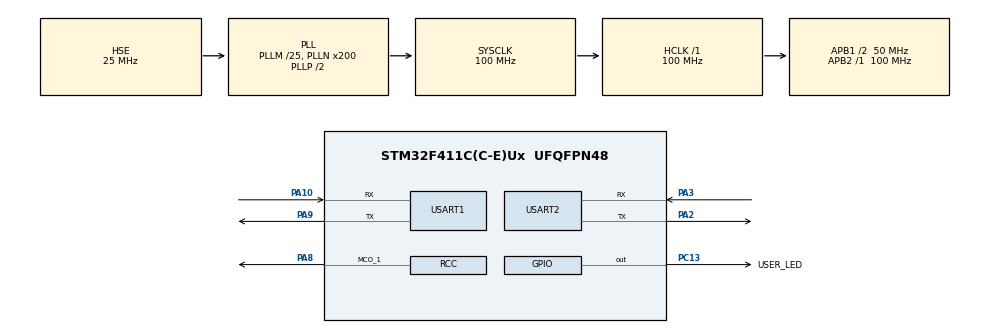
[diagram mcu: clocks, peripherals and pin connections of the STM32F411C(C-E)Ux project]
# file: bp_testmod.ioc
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Dma.Request0=USART1_RX
Dma.Request1=USART1_TX
Dma.Request2=USART2_RX
Dma.Request3=USART2_TX
Dma.USART1_RX.0.Direction=DMA_PERIPH_TO_MEMORY
Dma.USART1_RX.0.FIFOMode=DMA_FIFOMODE_DISABLE
Dma.USART1_RX.0.Instance=DMA2_Stream2
Dma.USART1_RX.0.MemDataAlignment=DMA_MDATAALIGN_BYTE
Dma.USART1_RX.0.MemInc=DMA_MINC_ENABLE
Dma.USART1_RX.0.Mode=DMA_NORMAL
Dma.USART1_RX.0.PeriphDataAlignment=DMA_PDATAALIGN_BYTE
Dma.USART1_RX.0.PeriphInc=DMA_PINC_DISABLE
Dma.USART1_RX.0.Priority=DMA_PRIORITY_LOW
Dma.USART1_TX.1.Direction=DMA_MEMORY_TO_PERIPH
Dma.USART1_TX.1.FIFOMode=DMA_FIFOMODE_DISABLE
Dma.USART1_TX.1.Instance=DMA2_Stream7
Dma.USART1_TX.1.MemDataAlignment=DMA_MDATAALIGN_BYTE
Dma.USART1_TX.1.MemInc=DMA_MINC_ENABLE
Dma.USART1_TX.1.Mode=DMA_NORMAL
Dma.USART1_TX.1.PeriphDataAlignment=DMA_PDATAALIGN_BYTE
Dma.USART1_TX.1.PeriphInc=DMA_PINC_DISABLE
Dma.USART1_TX.1.Priority=DMA_PRIORITY_LOW
Dma.USART2_RX.2.Direction=DMA_PERIPH_TO_MEMORY
Dma.USART2_RX.2.FIFOMode=DMA_FIFOMODE_DISABLE
Dma.USART2_RX.2.Instance=DMA1_Stream5
Dma.USART2_RX.2.MemDataAlignment=DMA_MDATAALIGN_BYTE
Dma.USART2_RX.2.MemInc=DMA_MINC_ENABLE
Dma.USART2_RX.2.Mode=DMA_NORMAL
Dma.USART2_RX.2.PeriphDataAlignment=DMA_PDATAALIGN_BYTE
Dma.USART2_RX.2.PeriphInc=DMA_PINC_DISABLE
Dma.USART2_RX.2.Priority=DMA_PRIORITY_LOW
Dma.USART2_TX.3.Direction=DMA_MEMORY_TO_PERIPH
Dma.USART2_TX.3.FIFOMode=DMA_FIFOMODE_DISABLE
Dma.USART2_TX.3.Instance=DMA1_Stream6
Dma.USART2_TX.3.MemDataAlignment=DMA_MDATAALIGN_BYTE
Dma.USART2_TX.3.MemInc=DMA_MINC_ENABLE
Dma.USART2_TX.3.Mode=DMA_NORMAL
Dma.USART2_TX.3.PeriphDataAlignment=DMA_PDATAALIGN_BYTE
Dma.USART2_TX.3.PeriphInc=DMA_PINC_DISABLE
Dma.USART2_TX.3.Priority=DMA_PRIORITY_LOW
Mcu.Family=STM32F4
Mcu.Name=STM32F411C(C-E)Ux
Mcu.Package=UFQFPN48
NVIC.DMA1_Stream5_IRQn=true\:0\:0\:false\:false\:true\:false\:true\:true
NVIC.DMA1_Stream6_IRQn=true\:0\:0\:false\:false\:true\:false\:true\:true
NVIC.DMA2_Stream2_IRQn=true\:0\:0\:false\:false\:true\:false\:true\:true
NVIC.DMA2_Stream7_IRQn=true\:0\:0\:false\:false\:true\:false\:true\:true
NVIC.PriorityGroup=NVIC_PRIORITYGROUP_4
NVIC.USART1_IRQn=true\:0\:0\:false\:false\:true\:true\:true\:true
NVIC.USART2_IRQn=true\:0\:0\:false\:false\:true\:false\:true\:true
PA10.Mode=Asynchronous
PA10.Signal=USART1_RX
PA13.Mode=Serial_Wire
PA13.Signal=SYS_JTMS-SWDIO
PA14.Mode=Serial_Wire
PA14.Signal=SYS_JTCK-SWCLK
PA2.Mode=Asynchronous
PA2.Signal=USART2_TX
PA3.Mode=Asynchronous
PA3.Signal=USART2_RX
PA8.Mode=Clock-out-1
PA8.Signal=RCC_MCO_1
PA9.Mode=Asynchronous
PA9.Signal=USART1_TX
PC13-ANTI_TAMP.GPIO_Label=USER_LED
PC13-ANTI_TAMP.PinState=GPIO_PIN_SET
PC13-ANTI_TAMP.Signal=GPIO_Output
PH0\ -\ OSC_IN.Mode=HSE-External-Oscillator
PH0\ -\ OSC_IN.Signal=RCC_OSC_IN
PH1\ -\ OSC_OUT.Mode=HSE-External-Oscillator
PH1\ -\ OSC_OUT.Signal=RCC_OSC_OUT
ProjectManager.HeapSize=0x200
ProjectManager.StackSize=0x400
ProjectManager.TargetToolchain=STM32CubeIDE
RCC.48MHZClocksFreq_Value=50000000
RCC.AHBFreq_Value=100000000
RCC.APB1CLKDivider=RCC_HCLK_DIV2
RCC.APB1Freq_Value=50000000
RCC.APB1TimFreq_Value=100000000
RCC.APB2Freq_Value=100000000
RCC.APB2TimFreq_Value=100000000
RCC.CortexFreq_Value=100000000
RCC.HCLKFreq_Value=100000000
RCC.HSE_VALUE=25000000
RCC.HSI_VALUE=16000000
RCC.LSE_VALUE=32768
RCC.PLLM=25
RCC.PLLN=200
RCC.PLLSourceVirtual=RCC_PLLSOURCE_HSE
RCC.SYSCLKFreq_VALUE=100000000
RCC.SYSCLKSource=RCC_SYSCLKSOURCE_PLLCLK
RCC.VCOOutputFreq_Value=200000000
USART1.VirtualMode=VM_ASYNC
USART2.VirtualMode=VM_ASYNC
board=custom

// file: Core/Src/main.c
/* USER CODE BEGIN Header */
/**
  ******************************************************************************
  * @file           : main.c
  * @brief          : Main program body
  ******************************************************************************
  * @attention
  *
  * Copyright (c) 2026 STMicroelectronics.
  * All rights reserved.
  *
  * This software is licensed under terms that can be found in the LICENSE file
  * in the root directory of this software component.
  * If no LICENSE file comes with this software, it is provided AS-IS.
  *
  ******************************************************************************
  */
/* USER CODE END Header */
#include "main.h"
#include "dma.h"
#include "usart.h"
#include "gpio.h"

/* USER CODE BEGIN Includes */
#include <string.h>
#include "gsm.h"
#include <stdio.h>
/* USER CODE END Includes */

/* USER CODE BEGIN PV */
GSM_NetworkStatus_t current_network_status;
/* USER CODE END PV */

void SystemClock_Config(void);

/* USER CODE BEGIN 0 */
int _write(int file, char *ptr, int len)
{
    // Transmit printf data over USART2 (Debug Console)
    HAL_UART_Transmit(&huart2, (uint8_t*)ptr, len, HAL_MAX_DELAY);
    return len;
}
/* USER CODE END 0 */

int main(void)
{

  /* MCU Configuration--------------------------------------------------------*/

  /* Reset of all peripherals, Initializes the Flash interface and the Systick. */
  HAL_Init();

  /* Configure the system clock */
  SystemClock_Config();

  /* Initialize all configured peripherals */
  MX_GPIO_Init();
  MX_DMA_Init();
  MX_USART1_UART_Init();
  MX_USART2_UART_Init();
  /* USER CODE BEGIN 2 */

  GSM_AttachUart(&huart1);
  GSM_AttachDebugUart(&huart2);
  HAL_StatusTypeDef gsm_status = GSM_Init(5);

  /* Bounded: 5 retries at 1s apart = ~5s max before giving up if the
   * modem is disconnected. main() always reaches the loop below. */
  if (gsm_status == HAL_OK) {
      const char* target_contacts[] = {
          "+919038556097",
          "+917980228197"
      };
      uint8_t contact_count = sizeof(target_contacts) / sizeof(target_contacts[0]);
      //GSM_SendSMS_Multiple(target_contacts, contact_count, "Hello! The STM32 system is now online.");

      GSM_HTTP_GET("https://test-api.free.beeceptor.com/");
      HAL_Delay(3000);
      const char* my_json = "{\"device\":\"stm32\",\"temperature\":45.2}";
      GSM_HTTP_POST("https://test-api.free.beeceptor.com", my_json, "application/json");
  }

  /* USER CODE END 2 */

  /* Infinite loop */
  while (1)
  {

    /* USER CODE BEGIN 3 */

	  if (gsm_status == HAL_OK)
	  {
		  HAL_GPIO_TogglePin(GPIOC, GPIO_PIN_13);

		  // Update the global variable
		  GSM_GetNetworkStatus(&current_network_status);

		  // Call  built-in library function to print the full status to the debug serial
		  GSM_PrintNetworkStatus();

		  if (current_network_status.rssi_valid) {
			  printf("Signal: %d dBm\r\n", current_network_status.rssi_dbm);
		  }

		  GSM_Ping("www.google.com", 15000);
		  HAL_Delay(10000);
	  }

	else
	{
		/* GSM init failed -- prove the main loop is still alive and
		 * looping with a fast, unmistakably different blink pattern,
		 * instead of silently hanging. */
		HAL_GPIO_TogglePin(GPIOC, GPIO_PIN_13);
		HAL_Delay(150);
	}
  }
  /* USER CODE END 3 */
}

void SystemClock_Config(void)
{
  RCC_OscInitTypeDef RCC_OscInitStruct = {0};
  RCC_ClkInitTypeDef RCC_ClkInitStruct = {0};

  /** Configure the main internal regulator output voltage
  */
  __HAL_RCC_PWR_CLK_ENABLE();
  __HAL_PWR_VOLTAGESCALING_CONFIG(PWR_REGULATOR_VOLTAGE_SCALE1);

  /** Initializes the RCC Oscillators according to the specified parameters
  * in the RCC_OscInitTypeDef structure.
  */
  RCC_OscInitStruct.OscillatorType = RCC_OSCILLATORTYPE_HSI|RCC_OSCILLATORTYPE_HSE;
  RCC_OscInitStruct.HSEState = RCC_HSE_ON;
  RCC_OscInitStruct.HSIState = RCC_HSI_ON;
  RCC_OscInitStruct.HSICalibrationValue = RCC_HSICALIBRATION_DEFAULT;
  RCC_OscInitStruct.PLL.PLLState = RCC_PLL_ON;
  RCC_OscInitStruct.PLL.PLLSource = RCC_PLLSOURCE_HSE;
  RCC_OscInitStruct.PLL.PLLM = 25;
  RCC_OscInitStruct.PLL.PLLN = 200;
  RCC_OscInitStruct.PLL.PLLP = RCC_PLLP_DIV2;
  RCC_OscInitStruct.PLL.PLLQ = 4;
  if (HAL_RCC_OscConfig(&RCC_OscInitStruct) != HAL_OK)
  {
    Error_Handler();
  }

  /** Initializes the CPU, AHB and APB buses clocks
  */
  RCC_ClkInitStruct.ClockType = RCC_CLOCKTYPE_HCLK|RCC_CLOCKTYPE_SYSCLK
                              |RCC_CLOCKTYPE_PCLK1|RCC_CLOCKTYPE_PCLK2;
  RCC_ClkInitStruct.SYSCLKSource = RCC_SYSCLKSOURCE_PLLCLK;
  RCC_ClkInitStruct.AHBCLKDivider = RCC_SYSCLK_DIV1;
  RCC_ClkInitStruct.APB1CLKDivider = RCC_HCLK_DIV2;
  RCC_ClkInitStruct.APB2CLKDivider = RCC_HCLK_DIV1;

  if (HAL_RCC_ClockConfig(&RCC_ClkInitStruct, FLASH_LATENCY_3) != HAL_OK)
  {
    Error_Handler();
  }
  HAL_RCC_MCOConfig(RCC_MCO1, RCC_MCO1SOURCE_HSI, RCC_MCODIV_1);
}

/* USER CODE BEGIN 4 */

/* --- DMA + IDLE-line event-driven UART1 reception START --- */

void HAL_UARTEx_RxEventCallback(UART_HandleTypeDef *huart, uint16_t Size)
{
    GSM_RxEventCallback(huart, Size);
}

void HAL_UART_ErrorCallback(UART_HandleTypeDef *huart)
{
    GSM_ErrorCallback(huart);
}
/* --- DMA + IDLE-line event-driven UART1 reception END --- */

/* USER CODE END 4 */

void Error_Handler(void)
{
  __disable_irq();
  while (1)
  {
  }
}
